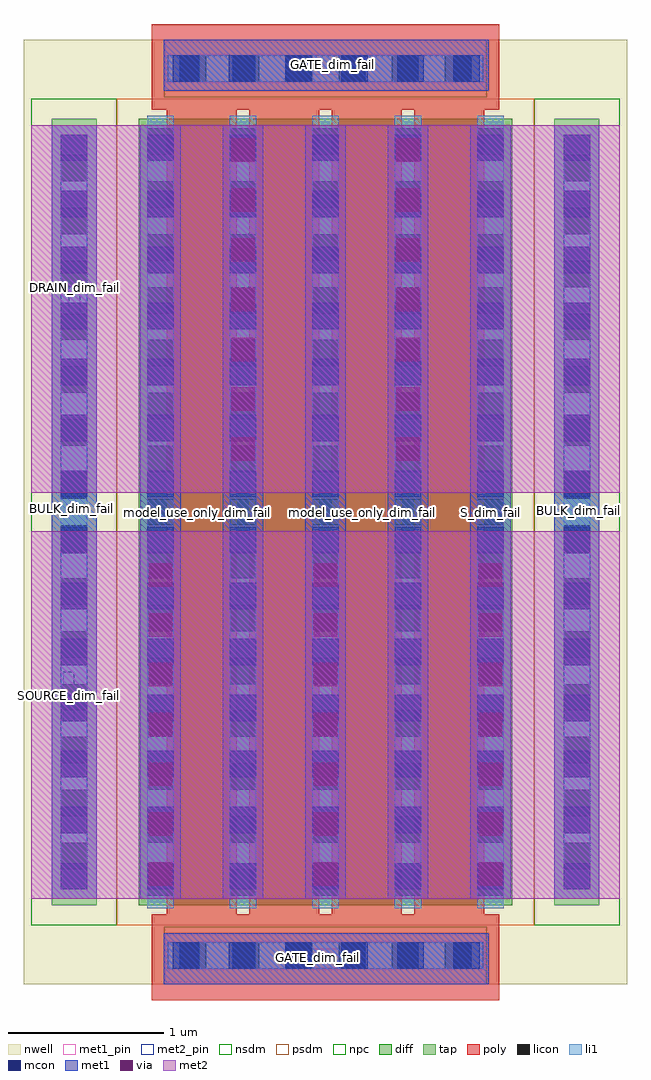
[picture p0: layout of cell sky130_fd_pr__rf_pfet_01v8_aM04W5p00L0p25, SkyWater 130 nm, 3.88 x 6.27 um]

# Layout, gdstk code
import gdstk
lib = gdstk.Library(unit=1e-6, precision=1e-09)
def R(c, l, rs):  # rectangles x0, y0, x1, y1
    for r in rs: c.add(gdstk.rectangle(r[:2], r[2:], *l))
def A(c, l, x, y, w, h, nx, ny, dx, dy):  # array of equal rectangles
    R(c, l, [(x+i*dx, y+j*dy, x+i*dx+w, y+j*dy+h) for i in range(nx) for j in range(ny)])
def P(c, l, *ps):  # polygons
    for p in ps: c.add(gdstk.Polygon(p, *l))
nwell = (64, 20)
diff = (65, 20)
tap = (65, 44)
poly = (66, 20)
licon = (66, 44)
li1 = (67, 20)
mcon = (67, 44)
met1_pin = (68, 16)
met1 = (68, 20)
via = (68, 44)
met2_pin = (69, 16)
met2 = (69, 20)
nsdm = (93, 44)
psdm = (94, 20)
npc = (95, 20)

sky130_fd_pr__rf_pfet_01 = lib.new_cell('sky130_fd_pr__rf_pfet_01v8_aM04W5p00L0p25')
R(sky130_fd_pr__rf_pfet_01, nwell, [(0,0,3.88,6.07)])
R(sky130_fd_pr__rf_pfet_01, diff, [(0.74,0.51,3.14,5.56)])
R(sky130_fd_pr__rf_pfet_01, tap, [(0.18,0.51,0.47,5.56), (3.41,0.51,3.7,5.56)])
P(sky130_fd_pr__rf_pfet_01, poly, [(0.825,-0.1),(0.825,0.45),(0.92,0.45),(0.92,5.62),(1.37,5.62),(1.37,0.45),(1.45,0.45),(1.45,5.62),(1.9,5.62),(1.9,0.45),(1.98,0.45),(1.98,5.62),(2.43,5.62),(2.43,0.45),(2.51,0.45),(2.51,5.62),(0.825,5.62),(0.825,6.17),(3.055,6.17),(3.055,5.62),(2.96,5.62),(2.96,0.45),(3.055,0.45),(3.055,-0.1)])
A(sky130_fd_pr__rf_pfet_01, licon, 1.005, 0.1, 0.17, 0.17, 6, 2, 0.34, 5.7)
A(sky130_fd_pr__rf_pfet_01, licon, 0.795, 0.57, 0.17, 0.17, 5, 15, 0.53, 0.34)
A(sky130_fd_pr__rf_pfet_01, licon, 0.24, 0.74, 0.17, 0.17, 1, 14, 0, 0.34)
A(sky130_fd_pr__rf_pfet_01, licon, 3.47, 0.74, 0.17, 0.17, 1, 14, 0, 0.34)
A(sky130_fd_pr__rf_pfet_01, li1, 0.795, 0.49, 0.17, 5.09, 5, 1, 0.53, 0)
A(sky130_fd_pr__rf_pfet_01, li1, 0.795, 1.69, 0.17, 2.69, 5, 1, 0.53, 0)
R(sky130_fd_pr__rf_pfet_01, li1, [(0.925,0.1,2.955,0.27), (0.96,0.1,2.93,0.27), (0.24,0.61,0.41,5.46), (3.47,0.61,3.64,5.46), (0.24,0.66,0.41,5.41), (3.47,0.66,3.64,5.41), (0.24,1.68,0.41,4.39), (3.47,1.68,3.64,4.39), (0.925,5.8,2.955,5.97), (0.96,5.8,2.93,5.97)])
A(sky130_fd_pr__rf_pfet_01, mcon, 0.96, 0.1, 0.17, 0.17, 6, 2, 0.36, 5.7)
A(sky130_fd_pr__rf_pfet_01, mcon, 0.24, 0.61, 0.17, 0.17, 1, 14, 0, 0.36)
A(sky130_fd_pr__rf_pfet_01, mcon, 0.795, 0.61, 0.17, 0.17, 5, 14, 0.53, 0.36)
A(sky130_fd_pr__rf_pfet_01, mcon, 3.47, 0.61, 0.17, 0.17, 1, 14, 0, 0.36)
R(sky130_fd_pr__rf_pfet_01, met1_pin, [(1.745,0.105,2.035,0.23), (3.48,3.015,3.65,3.07), (0.225,3.025,0.395,3.08), (1.84,5.845,2.13,5.97)])
A(sky130_fd_pr__rf_pfet_01, met1, 0.75, 0.55, 0.26, 2.24, 3, 1, 1.06, 0)
A(sky130_fd_pr__rf_pfet_01, met1, 0.75, 0.55, 0.26, 4.97, 5, 1, 0.53, 0)
R(sky130_fd_pr__rf_pfet_01, met1, [(0.9,0,2.99,0.33), (0.18,0.55,0.47,5.52), (3.41,0.55,3.7,5.52), (1.28,3.28,1.54,5.52), (2.34,3.28,2.6,5.52), (0.9,5.74,2.99,6.07)])
A(sky130_fd_pr__rf_pfet_01, via, 0.805, 0.635, 0.15, 0.15, 3, 7, 1.06, 0.32)
A(sky130_fd_pr__rf_pfet_01, via, 1.335, 3.365, 0.15, 0.15, 1, 7, 0, 0.32)
A(sky130_fd_pr__rf_pfet_01, via, 2.395, 3.365, 0.15, 0.15, 1, 7, 0, 0.32)
R(sky130_fd_pr__rf_pfet_01, met2_pin, [(0.255,1.695,0.325,2.01), (0.29,4.315,0.365,4.645)])
A(sky130_fd_pr__rf_pfet_01, met2, 0.75, 0.55, 0.26, 2.24, 3, 1, 1.06, 0)
R(sky130_fd_pr__rf_pfet_01, met2, [(0.05,0.55,3.83,2.91), (0.05,3.16,3.83,5.52), (1.28,3.28,1.54,5.52), (2.34,3.28,2.6,5.52)])
R(sky130_fd_pr__rf_pfet_01, nsdm, [(0.05,0.38,0.6,5.69), (3.28,0.38,3.83,5.69)])
R(sky130_fd_pr__rf_pfet_01, psdm, [(0.6,0.38,3.28,5.69)])
R(sky130_fd_pr__rf_pfet_01, npc, [(0.905,0,2.975,0.37), (0.905,5.7,2.975,6.07)])
sky130_fd_pr__rf_pfet_01.add(gdstk.Label('model_use_only_dim_fail', (2.18,3.035), layer=66, texttype=83))
sky130_fd_pr__rf_pfet_01.add(gdstk.Label('model_use_only_dim_fail', (2.7,3.035), layer=66, texttype=83))
sky130_fd_pr__rf_pfet_01.add(gdstk.Label('model_use_only_dim_fail', (1.115,3.035), layer=66, texttype=83))
sky130_fd_pr__rf_pfet_01.add(gdstk.Label('model_use_only_dim_fail', (1.64,3.035), layer=66, texttype=83))
sky130_fd_pr__rf_pfet_01.add(gdstk.Label('S_dim_fail', (0.88,3.035), layer=83, texttype=44))
sky130_fd_pr__rf_pfet_01.add(gdstk.Label('S_dim_fail', (0.88,3.035), layer=83, texttype=44))
sky130_fd_pr__rf_pfet_01.add(gdstk.Label('S_dim_fail', (1.41,3.035), layer=83, texttype=44))
sky130_fd_pr__rf_pfet_01.add(gdstk.Label('D_dim_fail', (1.41,3.035), layer=83, texttype=44))
sky130_fd_pr__rf_pfet_01.add(gdstk.Label('S_dim_fail', (1.94,3.035), layer=83, texttype=44))
sky130_fd_pr__rf_pfet_01.add(gdstk.Label('S_dim_fail', (1.94,3.035), layer=83, texttype=44))
sky130_fd_pr__rf_pfet_01.add(gdstk.Label('S_dim_fail', (2.47,3.035), layer=83, texttype=44))
sky130_fd_pr__rf_pfet_01.add(gdstk.Label('D_dim_fail', (2.47,3.035), layer=83, texttype=44))
sky130_fd_pr__rf_pfet_01.add(gdstk.Label('S_dim_fail', (3,3.035), layer=83, texttype=44))
sky130_fd_pr__rf_pfet_01.add(gdstk.Label('BULK_dim_fail', (3.565,3.045), layer=68, texttype=5))
sky130_fd_pr__rf_pfet_01.add(gdstk.Label('BULK_dim_fail', (0.31,3.055), layer=68, texttype=5))
sky130_fd_pr__rf_pfet_01.add(gdstk.Label('GATE_dim_fail', (1.985,5.91), layer=68, texttype=5))
sky130_fd_pr__rf_pfet_01.add(gdstk.Label('GATE_dim_fail', (1.89,0.17), layer=68, texttype=5))
sky130_fd_pr__rf_pfet_01.add(gdstk.Label('DRAIN_dim_fail', (0.33,4.48), layer=69, texttype=5))
sky130_fd_pr__rf_pfet_01.add(gdstk.Label('SOURCE_dim_fail', (0.29,1.855), layer=69, texttype=5))

lib.write_gds('sky130_fd_pr__rf_pfet_01v8_aM04W5p00L0p25.gds')
